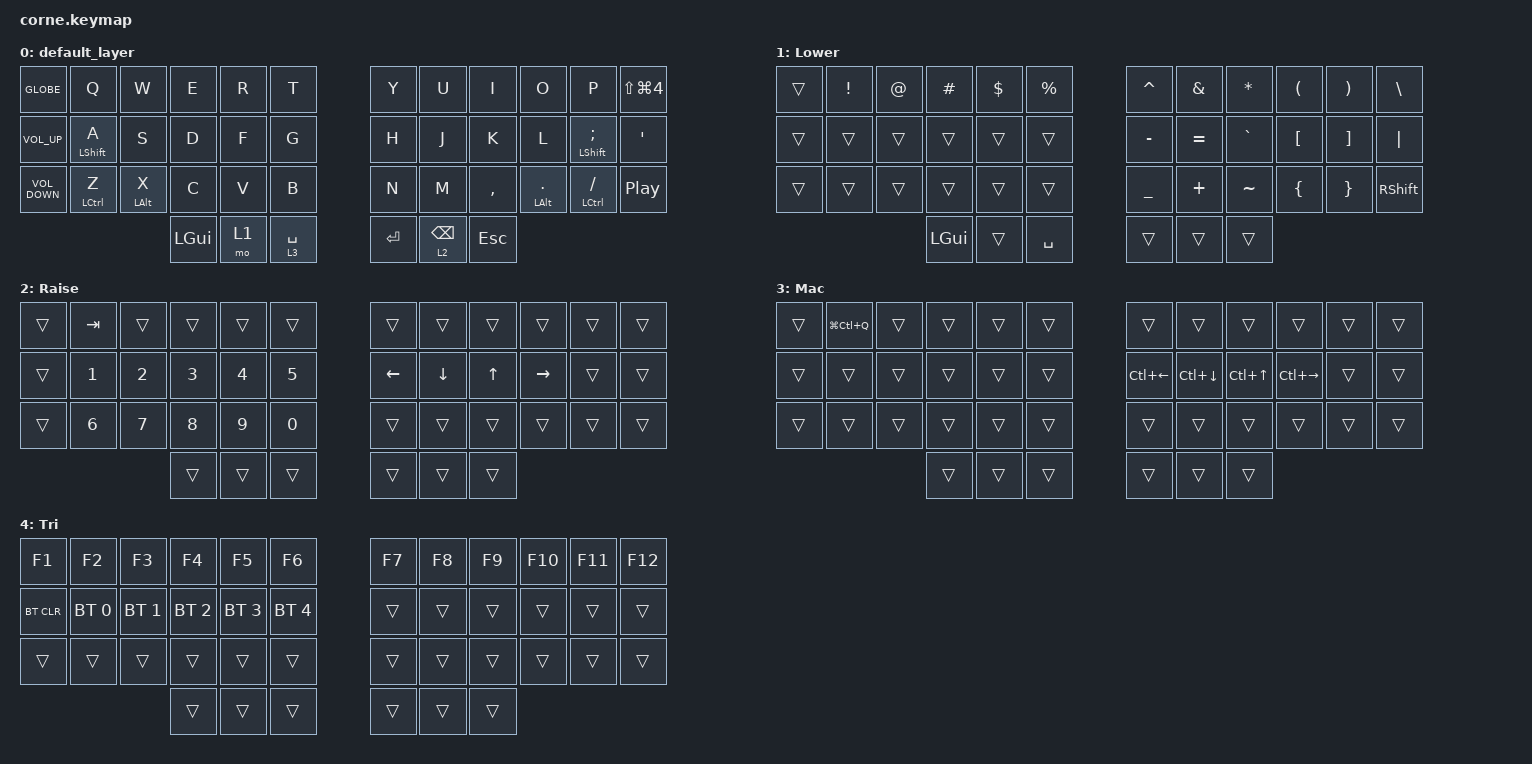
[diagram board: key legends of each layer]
/*
 * Copyright (c) 2020 The ZMK Contributors
 *
 * SPDX-License-Identifier: MIT
 */

#include <dt-bindings/zmk/mouse.h>
#include <behaviors.dtsi>
#include <dt-bindings/zmk/bt.h>
#include <dt-bindings/zmk/keys.h>

&mt {
    flavor = "tap-preferred";
    quick-tap-ms = <135>;
    tapping-term-ms = <150>;
};

/ {
    keymap {
        compatible = "zmk,keymap";

        default_layer {
            // -----------------------------------------------------------------------------------------
            // |  TAB |  Q  |  W  |  E  |  R  |  T  |   |  Y  |  U   |  I  |  O  |  P  | BKSP |
            // | SHFT |  A  |  S  |  D  |  F  |  G  |   |  H  |  J   |  K  |  L  |  ;  |  '   |
            // | CTRL |  Z  |  X  |  C  |  V  |  B  |   |  N  |  M   |  ,  |  .  |  /  | ESC  |
            //                    | GUI | LWR | SPC |   | ENT | RSE  | ALT |

            bindings = <
&kp GLOBE          &kp Q               &kp W           &kp E         &kp R  &kp T          &kp Y    &kp U            &kp I       &kp O                &kp P                     &kp LS(LG(NUMBER_4))
&kp C_VOLUME_UP    &mt LEFT_SHIFT A    &kp S           &kp D         &kp F  &kp G          &kp H    &kp J            &kp K       &kp L                &mt LEFT_SHIFT SEMICOLON  &kp SQT
&kp C_VOLUME_DOWN  &mt LEFT_CONTROL Z  &mt LEFT_ALT X  &kp C         &kp V  &kp B          &kp N    &kp M            &kp COMMA   &mt LEFT_ALT PERIOD  &mt LCTRL SLASH           &kp C_PLAY_PAUSE
                                                       &kp LEFT_GUI  &mo 1  &lt 3 SPACE    &kp RET  &lt 2 BACKSPACE  &kp ESCAPE
            >;
        };

        lower_layer {
            // -----------------------------------------------------------------------------------------
            // |      |  !  |  @  |  #  |  $  |    %     |   |  ^  |  &  |  *  |  (  |  )  |   \   |
            // |      |  1  |  2  |  3  |  4  |    5     |   |  -  |  =  |  `  |  [  |  ]  |  "|"  |
            // | SHFT |  6  |  7  |  8  |  9  |    0     |   |  _  |  +  |  ~  |  {  |  }  | RSHFT |
            //                     | GUI |     | ALT/ENT |   | HYPER/SPACE | BKSP |    |

            bindings = <
&trans  &kp EXCL  &kp AT  &kp HASH  &kp DLLR  &kp PRCNT    &kp CARET  &kp AMPS   &kp ASTERISK  &kp LPAR  &kp RPAR  &kp BSLH
&trans  &trans    &trans  &trans    &trans    &trans       &kp MINUS  &kp EQUAL  &kp GRAVE     &kp LBKT  &kp RBKT  &kp PIPE
&trans  &trans    &trans  &trans    &trans    &trans       &kp UNDER  &kp PLUS   &kp TILDE     &kp LBRC  &kp RBRC  &kp RSHFT
                          &kp LGUI  &trans    &kp SPACE    &trans     &trans     &trans
            >;

            label = "Lower";
        };

        raise_layer {
            // -----------------------------------------------------------------------------------------
            // |       |  F1  |  F2  |  F3  |  F4  |  F5 |            |  F6  |  F7  |  F8  |  F9  |  F10  |   |
            // |       | Prev | Next | Vol - | Vol + | Play/Pause |   |      | LFT | DWN |  UP | RGT |     |     |
            // | BTCLR | BT1 | BT2 | BT3 | BT4 | BT5 |   |            |     |     |     |     |     |     |
            //                    |     |     |    |                  |     |     |     |

            bindings = <
&trans  &kp TAB  &trans  &trans  &trans  &trans    &trans    &trans    &trans  &trans     &trans  &trans
&trans  &kp N1   &kp N2  &kp N3  &kp N4  &kp N5    &kp LEFT  &kp DOWN  &kp UP  &kp RIGHT  &trans  &trans
&trans  &kp N6   &kp N7  &kp N8  &kp N9  &kp N0    &trans    &trans    &trans  &trans     &trans  &trans
                         &trans  &trans  &trans    &trans    &trans    &trans
            >;

            label = "Raise";
        };

        mac_layer {
            bindings = <
&trans  &kp LG(LC(Q))  &trans  &trans  &trans  &trans    &trans              &trans        &trans            &trans               &trans  &trans
&trans  &trans         &trans  &trans  &trans  &trans    &kp LC(LEFT_ARROW)  &kp LC(DOWN)  &kp LC(UP_ARROW)  &kp LC(RIGHT_ARROW)  &trans  &trans
&trans  &trans         &trans  &trans  &trans  &trans    &trans              &trans        &trans            &trans               &trans  &trans
                               &trans  &trans  &trans    &trans              &trans        &trans
            >;

            label = "Mac";
        };

        tri_layer {
            bindings = <
&kp F1      &kp F2        &kp F3        &kp F4        &kp F5        &kp F6          &kp F7  &kp F8  &kp F9  &kp F10  &kp F11  &kp F12
&bt BT_CLR  &bt BT_SEL 0  &bt BT_SEL 1  &bt BT_SEL 2  &bt BT_SEL 3  &bt BT_SEL 4    &trans  &trans  &trans  &trans   &trans   &trans
&trans      &trans        &trans        &trans        &trans        &trans          &trans  &trans  &trans  &trans   &trans   &trans
                                        &trans        &trans        &trans          &trans  &trans  &trans
            >;

            label = "Tri";
        };
    };

    conditional_layers {
        compatible = "zmk,conditional-layers";

        Tri {
            if-layers = <1 2>;
            then-layer = <4>;
        };
    };
};
